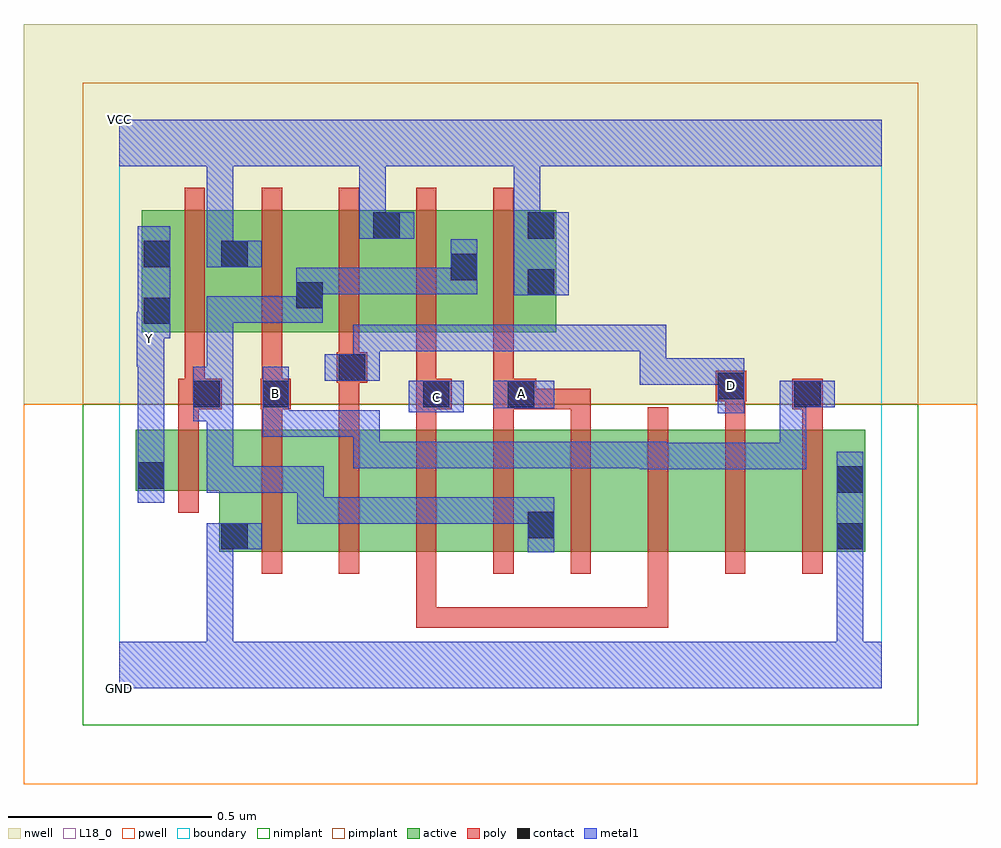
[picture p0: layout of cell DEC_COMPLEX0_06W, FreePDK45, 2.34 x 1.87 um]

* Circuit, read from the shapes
.subckt DEC_COMPLEX0_06W A B C D GND VCC Y
M1 GND n1 Y VSUBS nfet w=0.15u l=0.05u
M2 n2 B GND VSUBS nfet w=0.3u l=0.05u
M3 n3 D n2 VSUBS nfet w=0.3u l=0.05u
M4 n4 C n3 VSUBS nfet w=0.3u l=0.05u
M5 n1 A n4 VSUBS nfet w=0.3u l=0.05u
M6 n5 A n1 VSUBS nfet w=0.3u l=0.05u
M7 n6 C n5 VSUBS nfet w=0.3u l=0.05u
M8 n7 D n6 VSUBS nfet w=0.3u l=0.05u
M9 GND B n7 VSUBS nfet w=0.3u l=0.05u
M10 VCC n1 Y n8 pfet w=0.3u l=0.05u
M11 n1 B VCC n8 pfet w=0.3u l=0.05u
M12 VCC D n1 n8 pfet w=0.3u l=0.05u
M13 n1 C VCC n8 pfet w=0.3u l=0.05u
M14 VCC A n1 n8 pfet w=0.3u l=0.05u
.ends

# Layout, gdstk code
import gdstk
lib = gdstk.Library(unit=1e-6, precision=1e-09)
def R(c, l, rs):  # rectangles x0, y0, x1, y1
    for r in rs: c.add(gdstk.rectangle(r[:2], r[2:], *l))
def A(c, l, x, y, w, h, nx, ny, dx, dy):  # array of equal rectangles
    R(c, l, [(x+i*dx, y+j*dy, x+i*dx+w, y+j*dy+h) for i in range(nx) for j in range(ny)])
active = (1, 0)
pwell = (2, 0)
nwell = (3, 0)
nimplant = (4, 0)
pimplant = (5, 0)
poly = (9, 0)
contact = (10, 0)
metal1 = (11, 0)
L18_0 = (18, 0)
boundary = (235, 0)

dec_complex0_06w = lib.new_cell('DEC_COMPLEX0_06W')
A(dec_complex0_06w, active, 0.43, 0.877, 0.265, 0.3, 3, 1, 0.19, 0)
R(dec_complex0_06w, active, [(0.245,0.337,0.32,0.637), (0.245,0.337,0.47,0.637), (0.47,0.337,0.66,0.637), (0.66,0.337,0.85,0.637), (0.85,0.337,1.075,0.637), (1,0.337,1.075,0.637), (1,0.337,1.23,0.637), (1.23,0.337,1.42,0.637), (1.42,0.337,1.61,0.637), (1.61,0.337,1.835,0.637), (1.76,0.337,1.835,0.637), (0.04,0.487,0.32,0.637), (0.04,0.487,0.115,0.637), (0.055,0.877,0.13,1.177), (0.055,0.877,0.32,1.177), (0.245,0.877,0.505,1.177), (0.43,0.877,0.505,1.055), (1,0.877,1.075,1.177), (0.81,1,0.885,1.177), (0.245,1.007,0.32,1.107), (0.62,1.007,0.695,1.177)])
R(dec_complex0_06w, pwell, [(-0.235,-0.235,2.11,0.7)])
R(dec_complex0_06w, nwell, [(-0.235,0.7,2.11,1.635)])
R(dec_complex0_06w, nimplant, [(-0.09,-0.09,1.965,0.7)])
R(dec_complex0_06w, pimplant, [(-0.09,0.7,1.965,1.49)])
A(dec_complex0_06w, poly, 0.35, 0.282, 0.05, 0.41, 8, 1, 0.19, 0)
A(dec_complex0_06w, poly, 0.73, 0.642, 0.05, 0.095, 3, 1, 0.19, 0)
A(dec_complex0_06w, poly, 0.16, 0.822, 0.05, 0.41, 5, 1, 0.19, 0)
R(dec_complex0_06w, poly, [(0.73,0.15,0.78,0.332), (0.73,0.15,0.78,0.2), (0.73,0.15,0.78,0.2), (0.73,0.15,0.78,0.2), (0.73,0.15,0.95,0.2), (0.9,0.15,0.95,0.2), (0.9,0.15,0.95,0.2), (0.9,0.15,0.95,0.2), (0.9,0.15,1.157,0.2), (1.107,0.15,1.157,0.2), (1.107,0.15,1.35,0.2), (1.3,0.15,1.35,0.332), (1.3,0.15,1.35,0.2), (1.3,0.15,1.35,0.2), (1.3,0.15,1.35,0.2), (0.145,0.432,0.195,0.692), (0.145,0.642,0.195,0.737), (0.35,0.642,0.4,0.737), (0.54,0.642,0.59,0.802), (1.49,0.642,1.54,0.757), (1.68,0.642,1.73,0.737), (0.145,0.687,0.252,0.762), (0.347,0.687,0.422,0.762), (0.73,0.687,0.817,0.762), (0.92,0.687,1.025,0.762), (0.975,0.687,1.16,0.737), (1.11,0.687,1.16,0.737), (1.11,0.687,1.16,0.737), (1.11,0.687,1.16,0.737), (1.655,0.687,1.73,0.762), (1.467,0.707,1.542,0.782), (0.16,0.712,0.21,0.872), (0.35,0.712,0.4,0.872), (0.73,0.712,0.78,0.872), (0.92,0.712,0.97,0.872), (0.535,0.752,0.61,0.827), (0.54,0.777,0.59,0.872)])
R(dec_complex0_06w, contact, [(0.25,0.342,0.315,0.407), (1.765,0.342,1.83,0.407), (1.005,0.37,1.07,0.435), (1.765,0.482,1.83,0.547), (0.045,0.492,0.11,0.557), (0.182,0.692,0.247,0.757), (0.352,0.692,0.417,0.757), (0.747,0.692,0.812,0.757), (0.955,0.692,1.02,0.757), (1.66,0.692,1.725,0.757), (1.472,0.712,1.537,0.777), (0.54,0.757,0.605,0.822), (0.06,0.897,0.125,0.962), (0.435,0.935,0.5,1), (1.005,0.967,1.07,1.032), (0.815,1.005,0.88,1.07), (0.06,1.037,0.125,1.102), (0.25,1.037,0.315,1.102), (0.625,1.107,0.69,1.172), (1.005,1.107,1.07,1.172)])
R(dec_complex0_06w, metal1, [(0,0,1.875,0.115), (0.215,0.05,0.28,0.115), (0.215,0.05,0.28,0.115), (0.215,0.05,0.28,0.115), (0.215,0.05,0.28,0.115), (0.215,0.05,0.28,0.407), (1.765,0.05,1.83,0.372), (1.765,0.05,1.83,0.115), (1.765,0.05,1.83,0.115), (1.765,0.05,1.83,0.115), (1.765,0.05,1.83,0.115), (1.765,0.307,1.83,0.582), (1.005,0.335,1.07,0.47), (0.215,0.342,0.35,0.407), (0.437,0.405,0.64,0.47), (0.437,0.405,0.502,0.547), (0.575,0.405,0.64,0.47), (0.575,0.405,0.64,0.47), (0.575,0.405,0.64,0.47), (0.575,0.405,0.847,0.47), (0.782,0.405,0.847,0.47), (0.782,0.405,0.847,0.47), (0.782,0.405,0.847,0.47), (0.782,0.405,1.07,0.47), (1.005,0.405,1.07,0.47), (1.005,0.405,1.07,0.47), (0.045,0.457,0.11,0.592), (0.215,0.482,0.28,0.547), (0.215,0.482,0.28,0.547), (0.215,0.482,0.28,0.547), (0.215,0.482,0.44,0.547), (0.215,0.482,0.28,0.722), (0.375,0.482,0.44,0.547), (0.375,0.482,0.502,0.547), (0.045,0.527,0.11,0.857), (1.28,0.54,1.552,0.605), (1.28,0.54,1.345,0.607), (1.487,0.54,1.552,0.605), (1.487,0.54,1.552,0.605), (1.487,0.54,1.552,0.605), (1.487,0.54,1.69,0.605), (1.625,0.54,1.69,0.605), (1.625,0.54,1.69,0.757), (0.575,0.542,0.847,0.607), (0.575,0.542,0.64,0.685), (0.782,0.542,0.847,0.607), (0.782,0.542,0.847,0.607), (0.782,0.542,0.847,0.607), (0.782,0.542,0.985,0.607), (0.92,0.542,0.985,0.607), (0.92,0.542,0.985,0.607), (0.92,0.542,0.985,0.607), (0.92,0.542,1.207,0.607), (1.142,0.542,1.207,0.607), (1.142,0.542,1.345,0.607), (1.28,0.542,1.345,0.607), (1.28,0.542,1.345,0.607), (0.352,0.62,0.417,0.685), (0.352,0.62,0.577,0.685), (0.352,0.62,0.417,0.722), (0.512,0.62,0.577,0.685), (0.512,0.62,0.64,0.685), (0.182,0.657,0.247,0.792), (0.182,0.657,0.28,0.722), (0.215,0.657,0.28,0.722), (0.215,0.657,0.28,0.965), (0.352,0.657,0.417,0.722), (0.352,0.657,0.417,0.722), (0.352,0.657,0.417,0.792), (1.472,0.677,1.537,0.812), (0.712,0.68,0.847,0.757), (0.92,0.69,1.07,0.757), (1.625,0.692,1.69,0.757), (1.625,0.692,1.69,0.757), (1.625,0.692,1.76,0.757), (1.28,0.747,1.345,0.812), (1.28,0.747,1.345,0.812), (1.28,0.747,1.345,0.812), (1.28,0.747,1.537,0.812), (1.28,0.747,1.345,0.895), (1.472,0.747,1.537,0.812), (1.472,0.747,1.537,0.812), (0.505,0.757,0.64,0.822), (0.575,0.757,0.64,0.822), (0.575,0.757,0.64,0.822), (0.575,0.757,0.64,0.895), (0.042,0.792,0.11,0.927), (0.575,0.83,0.64,0.895), (0.575,0.83,0.777,0.895), (0.712,0.83,0.777,0.895), (0.712,0.83,0.777,0.895), (0.712,0.83,0.777,0.895), (0.712,0.83,1.035,0.895), (0.97,0.83,1.035,0.895), (0.97,0.83,1.035,0.895), (0.97,0.83,1.035,0.895), (0.97,0.83,1.207,0.895), (1.142,0.83,1.207,0.895), (1.142,0.83,1.345,0.895), (1.28,0.83,1.345,0.895), (0.045,0.862,0.11,0.927), (0.045,0.862,0.125,1.137), (0.215,0.9,0.28,0.965), (0.215,0.9,0.432,0.965), (0.367,0.9,0.432,0.965), (0.367,0.9,0.5,0.965), (0.435,0.9,0.5,1.035), (0.97,0.967,1.105,1.172), (0.435,0.97,0.5,1.035), (0.435,0.97,0.5,1.035), (0.435,0.97,0.64,1.035), (0.575,0.97,0.64,1.035), (0.575,0.97,0.64,1.035), (0.575,0.97,0.64,1.035), (0.575,0.97,0.847,1.035), (0.782,0.97,0.847,1.035), (0.782,0.97,0.88,1.035), (0.815,0.97,0.88,1.105), (0.215,1.037,0.35,1.102), (0.215,1.037,0.28,1.35), (0.59,1.107,0.725,1.172), (0.59,1.107,0.655,1.35), (0.97,1.107,1.035,1.172), (0.97,1.107,1.035,1.172), (0.97,1.107,1.035,1.35), (0,1.285,1.875,1.4), (0.215,1.285,0.28,1.35), (0.215,1.285,0.28,1.35), (0.59,1.285,0.655,1.35), (0.59,1.285,0.655,1.35)])
R(dec_complex0_06w, L18_0, [(0,0,1.875,0.115), (0.215,0.05,0.28,0.115), (0.215,0.05,0.28,0.115), (0.215,0.05,0.28,0.115), (0.215,0.05,0.28,0.115), (0.215,0.05,0.28,0.407), (1.765,0.05,1.83,0.115), (1.765,0.05,1.83,0.115), (1.765,0.05,1.83,0.115), (1.765,0.05,1.83,0.115), (1.765,0.05,1.83,0.372), (1.765,0.307,1.83,0.582), (0.215,0.342,0.35,0.407), (0.045,0.457,0.11,0.592), (0.045,0.527,0.11,0.857), (1.28,0.54,1.552,0.605), (1.28,0.54,1.345,0.607), (1.487,0.54,1.552,0.605), (1.487,0.54,1.552,0.605), (1.487,0.54,1.552,0.605), (1.487,0.54,1.69,0.605), (1.625,0.54,1.69,0.605), (1.625,0.54,1.69,0.757), (0.575,0.542,0.64,0.685), (0.575,0.542,0.847,0.607), (0.782,0.542,0.847,0.607), (0.782,0.542,0.847,0.607), (0.782,0.542,0.847,0.607), (0.782,0.542,0.985,0.607), (0.92,0.542,0.985,0.607), (0.92,0.542,0.985,0.607), (0.92,0.542,0.985,0.607), (0.92,0.542,1.207,0.607), (1.142,0.542,1.207,0.607), (1.142,0.542,1.345,0.607), (1.28,0.542,1.345,0.607), (1.28,0.542,1.345,0.607), (0.352,0.62,0.417,0.685), (0.352,0.62,0.417,0.722), (0.352,0.62,0.577,0.685), (0.512,0.62,0.577,0.685), (0.512,0.62,0.64,0.685), (0.352,0.657,0.417,0.792), (0.352,0.657,0.417,0.722), (0.352,0.657,0.417,0.722), (1.472,0.677,1.537,0.812), (0.712,0.68,0.847,0.757), (0.747,0.682,0.812,0.747), (0.92,0.69,1.07,0.757), (0.352,0.692,0.417,0.757), (0.957,0.692,1.022,0.757), (1.625,0.692,1.69,0.757), (1.625,0.692,1.69,0.757), (1.625,0.692,1.76,0.757), (1.472,0.712,1.537,0.777), (1.28,0.747,1.345,0.812), (1.28,0.747,1.345,0.812), (1.28,0.747,1.345,0.812), (1.28,0.747,1.345,0.895), (1.28,0.747,1.537,0.812), (1.472,0.747,1.537,0.812), (1.472,0.747,1.537,0.812), (0.505,0.757,0.64,0.822), (0.575,0.757,0.64,0.822), (0.575,0.757,0.64,0.822), (0.575,0.757,0.64,0.895), (0.042,0.792,0.11,0.927), (0.042,0.827,0.107,0.892), (0.575,0.83,0.64,0.895), (0.575,0.83,0.777,0.895), (0.712,0.83,0.777,0.895), (0.712,0.83,0.777,0.895), (0.712,0.83,0.777,0.895), (0.712,0.83,1.035,0.895), (0.97,0.83,1.035,0.895), (0.97,0.83,1.035,0.895), (0.97,0.83,1.035,0.895), (0.97,0.83,1.207,0.895), (1.142,0.83,1.207,0.895), (1.142,0.83,1.345,0.895), (1.28,0.83,1.345,0.895), (0.045,0.862,0.125,1.137), (0.045,0.862,0.11,0.927), (0.97,0.967,1.105,1.172), (0.215,1.037,0.35,1.102), (0.215,1.037,0.28,1.35), (0.59,1.107,0.725,1.172), (0.59,1.107,0.655,1.35), (0.97,1.107,1.035,1.172), (0.97,1.107,1.035,1.172), (0.97,1.107,1.035,1.35), (0,1.285,1.875,1.4), (0.215,1.285,0.28,1.35), (0.215,1.285,0.28,1.35), (0.59,1.285,0.655,1.35), (0.59,1.285,0.655,1.35)])
R(dec_complex0_06w, boundary, [(0,0,1.875,1.4)])
dec_complex0_06w.add(gdstk.Label('A', (0.99,0.725), layer=11, texttype=0))
dec_complex0_06w.add(gdstk.Label('B', (0.385,0.725), layer=11, texttype=0))
dec_complex0_06w.add(gdstk.Label('C', (0.78,0.715), layer=11, texttype=0))
dec_complex0_06w.add(gdstk.Label('D', (1.505,0.745), layer=11, texttype=0))
dec_complex0_06w.add(gdstk.Label('Y', (0.075,0.86), layer=11, texttype=0))
dec_complex0_06w.add(gdstk.Label('VCC', (0,1.4), layer=11, texttype=0))
dec_complex0_06w.add(gdstk.Label('GND', (0,0), layer=11, texttype=0))

lib.write_gds('DEC_COMPLEX0_06W.gds')
